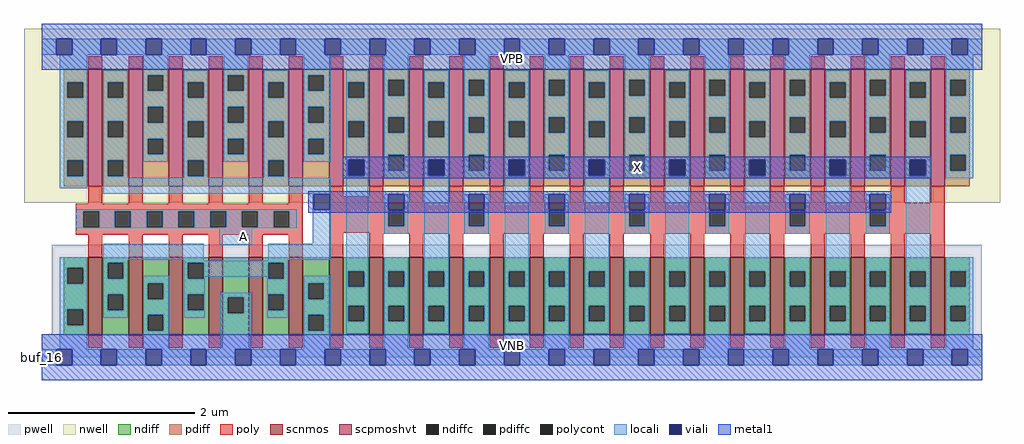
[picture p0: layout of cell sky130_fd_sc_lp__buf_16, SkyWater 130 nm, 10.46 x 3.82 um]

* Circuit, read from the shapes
.subckt sky130_fd_sc_lp__buf_16 A VGND VNB VPB VPWR X
XM1 n1 A VGND VNB sky130_fd_pr__nfet_01v8 w=0.84 l=0.15 m=6
XM2 X n1 VGND VNB sky130_fd_pr__nfet_01v8 w=0.84 l=0.15 m=16
XM3 n1 A VPWR VPB sky130_fd_pr__pfet_01v8_hvt w=1.26 l=0.15 m=6
XM4 X n1 VPWR VPB sky130_fd_pr__pfet_01v8_hvt w=1.26 l=0.15 m=16
.ends

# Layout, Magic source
magic
tech sky130A
magscale 1 2
<< nwell >>
rect -38 331 2054 704
<< pwell >>
rect 21 49 2015 241
rect 0 0 2016 49
<< scnmos >>
rect 100 47 130 215
rect 186 47 216 215
rect 272 47 302 215
rect 358 47 388 215
rect 444 47 474 215
rect 530 47 560 215
rect 616 47 646 215
rect 702 47 732 215
rect 788 47 818 215
rect 874 47 904 215
rect 960 47 990 215
rect 1046 47 1076 215
rect 1132 47 1162 215
rect 1218 47 1248 215
rect 1304 47 1334 215
rect 1390 47 1420 215
rect 1476 47 1506 215
rect 1562 47 1592 215
rect 1648 47 1678 215
rect 1734 47 1764 215
rect 1820 47 1850 215
rect 1906 47 1936 215
<< scpmoshvt >>
rect 100 367 130 619
rect 186 367 216 619
rect 272 367 302 619
rect 358 367 388 619
rect 444 367 474 619
rect 530 367 560 619
rect 616 367 646 619
rect 702 367 732 619
rect 788 367 818 619
rect 874 367 904 619
rect 960 367 990 619
rect 1046 367 1076 619
rect 1132 367 1162 619
rect 1218 367 1248 619
rect 1304 367 1334 619
rect 1390 367 1420 619
rect 1476 367 1506 619
rect 1562 367 1592 619
rect 1648 367 1678 619
rect 1734 367 1764 619
rect 1820 367 1850 619
rect 1906 367 1936 619
<< ndiff >>
rect 47 192 100 215
rect 47 158 55 192
rect 89 158 100 192
rect 47 103 100 158
rect 47 69 55 103
rect 89 69 100 103
rect 47 47 100 69
rect 130 203 186 215
rect 130 169 141 203
rect 175 169 186 203
rect 130 135 186 169
rect 130 101 141 135
rect 175 101 186 135
rect 130 47 186 101
rect 216 159 272 215
rect 216 125 227 159
rect 261 125 272 159
rect 216 91 272 125
rect 216 57 227 91
rect 261 57 272 91
rect 216 47 272 57
rect 302 203 358 215
rect 302 169 313 203
rect 347 169 358 203
rect 302 135 358 169
rect 302 101 313 135
rect 347 101 358 135
rect 302 47 358 101
rect 388 129 444 215
rect 388 95 399 129
rect 433 95 444 129
rect 388 47 444 95
rect 474 203 530 215
rect 474 169 485 203
rect 519 169 530 203
rect 474 135 530 169
rect 474 101 485 135
rect 519 101 530 135
rect 474 47 530 101
rect 560 159 616 215
rect 560 125 571 159
rect 605 125 616 159
rect 560 91 616 125
rect 560 57 571 91
rect 605 57 616 91
rect 560 47 616 57
rect 646 185 702 215
rect 646 151 657 185
rect 691 151 702 185
rect 646 111 702 151
rect 646 77 657 111
rect 691 77 702 111
rect 646 47 702 77
rect 732 185 788 215
rect 732 151 743 185
rect 777 151 788 185
rect 732 111 788 151
rect 732 77 743 111
rect 777 77 788 111
rect 732 47 788 77
rect 818 185 874 215
rect 818 151 829 185
rect 863 151 874 185
rect 818 111 874 151
rect 818 77 829 111
rect 863 77 874 111
rect 818 47 874 77
rect 904 185 960 215
rect 904 151 915 185
rect 949 151 960 185
rect 904 111 960 151
rect 904 77 915 111
rect 949 77 960 111
rect 904 47 960 77
rect 990 185 1046 215
rect 990 151 1001 185
rect 1035 151 1046 185
rect 990 111 1046 151
rect 990 77 1001 111
rect 1035 77 1046 111
rect 990 47 1046 77
rect 1076 185 1132 215
rect 1076 151 1087 185
rect 1121 151 1132 185
rect 1076 111 1132 151
rect 1076 77 1087 111
rect 1121 77 1132 111
rect 1076 47 1132 77
rect 1162 185 1218 215
rect 1162 151 1173 185
rect 1207 151 1218 185
rect 1162 111 1218 151
rect 1162 77 1173 111
rect 1207 77 1218 111
rect 1162 47 1218 77
rect 1248 185 1304 215
rect 1248 151 1259 185
rect 1293 151 1304 185
rect 1248 111 1304 151
rect 1248 77 1259 111
rect 1293 77 1304 111
rect 1248 47 1304 77
rect 1334 185 1390 215
rect 1334 151 1345 185
rect 1379 151 1390 185
rect 1334 111 1390 151
rect 1334 77 1345 111
rect 1379 77 1390 111
rect 1334 47 1390 77
rect 1420 185 1476 215
rect 1420 151 1431 185
rect 1465 151 1476 185
rect 1420 111 1476 151
rect 1420 77 1431 111
rect 1465 77 1476 111
rect 1420 47 1476 77
rect 1506 185 1562 215
rect 1506 151 1517 185
rect 1551 151 1562 185
rect 1506 111 1562 151
rect 1506 77 1517 111
rect 1551 77 1562 111
rect 1506 47 1562 77
rect 1592 185 1648 215
rect 1592 151 1603 185
rect 1637 151 1648 185
rect 1592 111 1648 151
rect 1592 77 1603 111
rect 1637 77 1648 111
rect 1592 47 1648 77
rect 1678 185 1734 215
rect 1678 151 1689 185
rect 1723 151 1734 185
rect 1678 111 1734 151
rect 1678 77 1689 111
rect 1723 77 1734 111
rect 1678 47 1734 77
rect 1764 185 1820 215
rect 1764 151 1775 185
rect 1809 151 1820 185
rect 1764 111 1820 151
rect 1764 77 1775 111
rect 1809 77 1820 111
rect 1764 47 1820 77
rect 1850 185 1906 215
rect 1850 151 1861 185
rect 1895 151 1906 185
rect 1850 111 1906 151
rect 1850 77 1861 111
rect 1895 77 1906 111
rect 1850 47 1906 77
rect 1936 185 1989 215
rect 1936 151 1947 185
rect 1981 151 1989 185
rect 1936 111 1989 151
rect 1936 77 1947 111
rect 1981 77 1989 111
rect 1936 47 1989 77
<< pdiff >>
rect 47 590 100 619
rect 47 556 55 590
rect 89 556 100 590
rect 47 506 100 556
rect 47 472 55 506
rect 89 472 100 506
rect 47 422 100 472
rect 47 388 55 422
rect 89 388 100 422
rect 47 367 100 388
rect 130 590 186 619
rect 130 556 141 590
rect 175 556 186 590
rect 130 506 186 556
rect 130 472 141 506
rect 175 472 186 506
rect 130 422 186 472
rect 130 388 141 422
rect 175 388 186 422
rect 130 367 186 388
rect 216 605 272 619
rect 216 571 227 605
rect 261 571 272 605
rect 216 537 272 571
rect 216 503 227 537
rect 261 503 272 537
rect 216 469 272 503
rect 216 435 227 469
rect 261 435 272 469
rect 216 367 272 435
rect 302 590 358 619
rect 302 556 313 590
rect 347 556 358 590
rect 302 506 358 556
rect 302 472 313 506
rect 347 472 358 506
rect 302 422 358 472
rect 302 388 313 422
rect 347 388 358 422
rect 302 367 358 388
rect 388 605 444 619
rect 388 571 399 605
rect 433 571 444 605
rect 388 537 444 571
rect 388 503 399 537
rect 433 503 444 537
rect 388 469 444 503
rect 388 435 399 469
rect 433 435 444 469
rect 388 367 444 435
rect 474 590 530 619
rect 474 556 485 590
rect 519 556 530 590
rect 474 506 530 556
rect 474 472 485 506
rect 519 472 530 506
rect 474 422 530 472
rect 474 388 485 422
rect 519 388 530 422
rect 474 367 530 388
rect 560 605 616 619
rect 560 571 571 605
rect 605 571 616 605
rect 560 537 616 571
rect 560 503 571 537
rect 605 503 616 537
rect 560 469 616 503
rect 560 435 571 469
rect 605 435 616 469
rect 560 367 616 435
rect 646 590 702 619
rect 646 556 657 590
rect 691 556 702 590
rect 646 506 702 556
rect 646 472 657 506
rect 691 472 702 506
rect 646 422 702 472
rect 646 388 657 422
rect 691 388 702 422
rect 646 367 702 388
rect 732 595 788 619
rect 732 561 743 595
rect 777 561 788 595
rect 732 515 788 561
rect 732 481 743 515
rect 777 481 788 515
rect 732 434 788 481
rect 732 400 743 434
rect 777 400 788 434
rect 732 367 788 400
rect 818 590 874 619
rect 818 556 829 590
rect 863 556 874 590
rect 818 506 874 556
rect 818 472 829 506
rect 863 472 874 506
rect 818 422 874 472
rect 818 388 829 422
rect 863 388 874 422
rect 818 367 874 388
rect 904 595 960 619
rect 904 561 915 595
rect 949 561 960 595
rect 904 515 960 561
rect 904 481 915 515
rect 949 481 960 515
rect 904 434 960 481
rect 904 400 915 434
rect 949 400 960 434
rect 904 367 960 400
rect 990 590 1046 619
rect 990 556 1001 590
rect 1035 556 1046 590
rect 990 506 1046 556
rect 990 472 1001 506
rect 1035 472 1046 506
rect 990 422 1046 472
rect 990 388 1001 422
rect 1035 388 1046 422
rect 990 367 1046 388
rect 1076 595 1132 619
rect 1076 561 1087 595
rect 1121 561 1132 595
rect 1076 515 1132 561
rect 1076 481 1087 515
rect 1121 481 1132 515
rect 1076 434 1132 481
rect 1076 400 1087 434
rect 1121 400 1132 434
rect 1076 367 1132 400
rect 1162 590 1218 619
rect 1162 556 1173 590
rect 1207 556 1218 590
rect 1162 506 1218 556
rect 1162 472 1173 506
rect 1207 472 1218 506
rect 1162 422 1218 472
rect 1162 388 1173 422
rect 1207 388 1218 422
rect 1162 367 1218 388
rect 1248 595 1304 619
rect 1248 561 1259 595
rect 1293 561 1304 595
rect 1248 515 1304 561
rect 1248 481 1259 515
rect 1293 481 1304 515
rect 1248 434 1304 481
rect 1248 400 1259 434
rect 1293 400 1304 434
rect 1248 367 1304 400
rect 1334 590 1390 619
rect 1334 556 1345 590
rect 1379 556 1390 590
rect 1334 506 1390 556
rect 1334 472 1345 506
rect 1379 472 1390 506
rect 1334 422 1390 472
rect 1334 388 1345 422
rect 1379 388 1390 422
rect 1334 367 1390 388
rect 1420 595 1476 619
rect 1420 561 1431 595
rect 1465 561 1476 595
rect 1420 515 1476 561
rect 1420 481 1431 515
rect 1465 481 1476 515
rect 1420 434 1476 481
rect 1420 400 1431 434
rect 1465 400 1476 434
rect 1420 367 1476 400
rect 1506 590 1562 619
rect 1506 556 1517 590
rect 1551 556 1562 590
rect 1506 506 1562 556
rect 1506 472 1517 506
rect 1551 472 1562 506
rect 1506 422 1562 472
rect 1506 388 1517 422
rect 1551 388 1562 422
rect 1506 367 1562 388
rect 1592 595 1648 619
rect 1592 561 1603 595
rect 1637 561 1648 595
rect 1592 515 1648 561
rect 1592 481 1603 515
rect 1637 481 1648 515
rect 1592 434 1648 481
rect 1592 400 1603 434
rect 1637 400 1648 434
rect 1592 367 1648 400
rect 1678 590 1734 619
rect 1678 556 1689 590
rect 1723 556 1734 590
rect 1678 506 1734 556
rect 1678 472 1689 506
rect 1723 472 1734 506
rect 1678 422 1734 472
rect 1678 388 1689 422
rect 1723 388 1734 422
rect 1678 367 1734 388
rect 1764 595 1820 619
rect 1764 561 1775 595
rect 1809 561 1820 595
rect 1764 515 1820 561
rect 1764 481 1775 515
rect 1809 481 1820 515
rect 1764 434 1820 481
rect 1764 400 1775 434
rect 1809 400 1820 434
rect 1764 367 1820 400
rect 1850 590 1906 619
rect 1850 556 1861 590
rect 1895 556 1906 590
rect 1850 506 1906 556
rect 1850 472 1861 506
rect 1895 472 1906 506
rect 1850 422 1906 472
rect 1850 388 1861 422
rect 1895 388 1906 422
rect 1850 367 1906 388
rect 1936 595 1989 619
rect 1936 561 1947 595
rect 1981 561 1989 595
rect 1936 515 1989 561
rect 1936 481 1947 515
rect 1981 481 1989 515
rect 1936 434 1989 481
rect 1936 400 1947 434
rect 1981 400 1989 434
rect 1936 367 1989 400
<< ndiffc >>
rect 55 158 89 192
rect 55 69 89 103
rect 141 169 175 203
rect 141 101 175 135
rect 227 125 261 159
rect 227 57 261 91
rect 313 169 347 203
rect 313 101 347 135
rect 399 95 433 129
rect 485 169 519 203
rect 485 101 519 135
rect 571 125 605 159
rect 571 57 605 91
rect 657 151 691 185
rect 657 77 691 111
rect 743 151 777 185
rect 743 77 777 111
rect 829 151 863 185
rect 829 77 863 111
rect 915 151 949 185
rect 915 77 949 111
rect 1001 151 1035 185
rect 1001 77 1035 111
rect 1087 151 1121 185
rect 1087 77 1121 111
rect 1173 151 1207 185
rect 1173 77 1207 111
rect 1259 151 1293 185
rect 1259 77 1293 111
rect 1345 151 1379 185
rect 1345 77 1379 111
rect 1431 151 1465 185
rect 1431 77 1465 111
rect 1517 151 1551 185
rect 1517 77 1551 111
rect 1603 151 1637 185
rect 1603 77 1637 111
rect 1689 151 1723 185
rect 1689 77 1723 111
rect 1775 151 1809 185
rect 1775 77 1809 111
rect 1861 151 1895 185
rect 1861 77 1895 111
rect 1947 151 1981 185
rect 1947 77 1981 111
<< pdiffc >>
rect 55 556 89 590
rect 55 472 89 506
rect 55 388 89 422
rect 141 556 175 590
rect 141 472 175 506
rect 141 388 175 422
rect 227 571 261 605
rect 227 503 261 537
rect 227 435 261 469
rect 313 556 347 590
rect 313 472 347 506
rect 313 388 347 422
rect 399 571 433 605
rect 399 503 433 537
rect 399 435 433 469
rect 485 556 519 590
rect 485 472 519 506
rect 485 388 519 422
rect 571 571 605 605
rect 571 503 605 537
rect 571 435 605 469
rect 657 556 691 590
rect 657 472 691 506
rect 657 388 691 422
rect 743 561 777 595
rect 743 481 777 515
rect 743 400 777 434
rect 829 556 863 590
rect 829 472 863 506
rect 829 388 863 422
rect 915 561 949 595
rect 915 481 949 515
rect 915 400 949 434
rect 1001 556 1035 590
rect 1001 472 1035 506
rect 1001 388 1035 422
rect 1087 561 1121 595
rect 1087 481 1121 515
rect 1087 400 1121 434
rect 1173 556 1207 590
rect 1173 472 1207 506
rect 1173 388 1207 422
rect 1259 561 1293 595
rect 1259 481 1293 515
rect 1259 400 1293 434
rect 1345 556 1379 590
rect 1345 472 1379 506
rect 1345 388 1379 422
rect 1431 561 1465 595
rect 1431 481 1465 515
rect 1431 400 1465 434
rect 1517 556 1551 590
rect 1517 472 1551 506
rect 1517 388 1551 422
rect 1603 561 1637 595
rect 1603 481 1637 515
rect 1603 400 1637 434
rect 1689 556 1723 590
rect 1689 472 1723 506
rect 1689 388 1723 422
rect 1775 561 1809 595
rect 1775 481 1809 515
rect 1775 400 1809 434
rect 1861 556 1895 590
rect 1861 472 1895 506
rect 1861 388 1895 422
rect 1947 561 1981 595
rect 1947 481 1981 515
rect 1947 400 1981 434
<< poly >>
rect 100 619 130 645
rect 186 619 216 645
rect 272 619 302 645
rect 358 619 388 645
rect 444 619 474 645
rect 530 619 560 645
rect 616 619 646 645
rect 702 619 732 645
rect 788 619 818 645
rect 874 619 904 645
rect 960 619 990 645
rect 1046 619 1076 645
rect 1132 619 1162 645
rect 1218 619 1248 645
rect 1304 619 1334 645
rect 1390 619 1420 645
rect 1476 619 1506 645
rect 1562 619 1592 645
rect 1648 619 1678 645
rect 1734 619 1764 645
rect 1820 619 1850 645
rect 1906 619 1936 645
rect 100 329 130 367
rect 186 329 216 367
rect 272 329 302 367
rect 358 329 388 367
rect 444 329 474 367
rect 530 329 560 367
rect 73 313 560 329
rect 73 279 89 313
rect 123 279 157 313
rect 191 279 225 313
rect 259 279 293 313
rect 327 279 361 313
rect 395 279 429 313
rect 463 279 497 313
rect 531 279 560 313
rect 73 263 560 279
rect 100 215 130 263
rect 186 215 216 263
rect 272 215 302 263
rect 358 215 388 263
rect 444 215 474 263
rect 530 215 560 263
rect 616 345 646 367
rect 702 345 732 367
rect 616 331 732 345
rect 788 331 818 367
rect 874 331 904 367
rect 960 331 990 367
rect 1046 331 1076 367
rect 1132 331 1162 367
rect 1218 331 1248 367
rect 1304 331 1334 367
rect 1390 331 1420 367
rect 1476 331 1506 367
rect 1562 331 1592 367
rect 1648 331 1678 367
rect 1734 331 1764 367
rect 1820 331 1850 367
rect 1906 331 1936 367
rect 616 315 1936 331
rect 616 281 743 315
rect 777 281 915 315
rect 949 281 1087 315
rect 1121 281 1259 315
rect 1293 281 1431 315
rect 1465 281 1603 315
rect 1637 281 1775 315
rect 1809 281 1936 315
rect 616 267 1936 281
rect 616 215 646 267
rect 702 265 1936 267
rect 702 215 732 265
rect 788 215 818 265
rect 874 215 904 265
rect 960 215 990 265
rect 1046 215 1076 265
rect 1132 215 1162 265
rect 1218 215 1248 265
rect 1304 215 1334 265
rect 1390 215 1420 265
rect 1476 215 1506 265
rect 1562 215 1592 265
rect 1648 215 1678 265
rect 1734 215 1764 265
rect 1820 215 1850 265
rect 1906 215 1936 265
rect 100 21 130 47
rect 186 21 216 47
rect 272 21 302 47
rect 358 21 388 47
rect 444 21 474 47
rect 530 21 560 47
rect 616 21 646 47
rect 702 21 732 47
rect 788 21 818 47
rect 874 21 904 47
rect 960 21 990 47
rect 1046 21 1076 47
rect 1132 21 1162 47
rect 1218 21 1248 47
rect 1304 21 1334 47
rect 1390 21 1420 47
rect 1476 21 1506 47
rect 1562 21 1592 47
rect 1648 21 1678 47
rect 1734 21 1764 47
rect 1820 21 1850 47
rect 1906 21 1936 47
<< polycont >>
rect 89 279 123 313
rect 157 279 191 313
rect 225 279 259 313
rect 293 279 327 313
rect 361 279 395 313
rect 429 279 463 313
rect 497 279 531 313
rect 743 281 777 315
rect 915 281 949 315
rect 1087 281 1121 315
rect 1259 281 1293 315
rect 1431 281 1465 315
rect 1603 281 1637 315
rect 1775 281 1809 315
<< locali >>
rect 0 649 31 683
rect 65 649 127 683
rect 161 649 223 683
rect 257 649 319 683
rect 353 649 415 683
rect 449 649 511 683
rect 545 649 607 683
rect 641 649 703 683
rect 737 649 799 683
rect 833 649 895 683
rect 929 649 991 683
rect 1025 649 1087 683
rect 1121 649 1183 683
rect 1217 649 1279 683
rect 1313 649 1375 683
rect 1409 649 1471 683
rect 1505 649 1567 683
rect 1601 649 1663 683
rect 1697 649 1759 683
rect 1793 649 1855 683
rect 1889 649 1951 683
rect 1985 649 2016 683
rect 39 590 98 649
rect 39 556 55 590
rect 89 556 98 590
rect 39 506 98 556
rect 39 472 55 506
rect 89 472 98 506
rect 39 422 98 472
rect 39 388 55 422
rect 89 388 98 422
rect 39 363 98 388
rect 132 590 184 615
rect 132 556 141 590
rect 175 556 184 590
rect 132 506 184 556
rect 132 472 141 506
rect 175 472 184 506
rect 132 422 184 472
rect 132 388 141 422
rect 175 388 184 422
rect 218 605 270 649
rect 218 571 227 605
rect 261 571 270 605
rect 218 537 270 571
rect 218 503 227 537
rect 261 503 270 537
rect 218 469 270 503
rect 218 435 227 469
rect 261 435 270 469
rect 218 419 270 435
rect 304 590 356 615
rect 304 556 313 590
rect 347 556 356 590
rect 304 506 356 556
rect 304 472 313 506
rect 347 472 356 506
rect 304 422 356 472
rect 132 385 184 388
rect 304 388 313 422
rect 347 388 356 422
rect 390 605 442 649
rect 390 571 399 605
rect 433 571 442 605
rect 390 537 442 571
rect 390 503 399 537
rect 433 503 442 537
rect 390 469 442 503
rect 390 435 399 469
rect 433 435 442 469
rect 390 419 442 435
rect 476 590 528 615
rect 476 556 485 590
rect 519 556 528 590
rect 476 506 528 556
rect 476 472 485 506
rect 519 472 528 506
rect 476 422 528 472
rect 304 385 356 388
rect 476 388 485 422
rect 519 388 528 422
rect 562 605 619 649
rect 562 571 571 605
rect 605 571 619 605
rect 562 537 619 571
rect 562 503 571 537
rect 605 503 619 537
rect 562 469 619 503
rect 562 435 571 469
rect 605 435 619 469
rect 562 419 619 435
rect 653 590 700 615
rect 653 556 657 590
rect 691 556 700 590
rect 653 506 700 556
rect 653 472 657 506
rect 691 472 700 506
rect 653 424 700 472
rect 476 385 528 388
rect 653 388 657 424
rect 691 388 700 424
rect 132 351 619 385
rect 581 350 619 351
rect 73 313 547 317
rect 73 279 89 313
rect 123 279 157 313
rect 191 279 225 313
rect 259 279 293 313
rect 327 279 361 313
rect 395 279 429 313
rect 463 279 497 313
rect 531 279 547 313
rect 73 277 547 279
rect 581 316 583 350
rect 617 316 619 350
rect 39 192 98 215
rect 39 158 55 192
rect 89 158 98 192
rect 39 103 98 158
rect 39 69 55 103
rect 89 69 98 103
rect 132 209 347 243
rect 381 241 451 277
rect 581 243 619 316
rect 132 203 184 209
rect 132 169 141 203
rect 175 169 184 203
rect 306 207 347 209
rect 485 209 619 243
rect 485 207 528 209
rect 306 203 528 207
rect 132 135 184 169
rect 132 101 141 135
rect 175 101 184 135
rect 132 85 184 101
rect 218 159 272 175
rect 218 125 227 159
rect 261 125 272 159
rect 218 91 272 125
rect 39 17 98 69
rect 218 57 227 91
rect 261 57 272 91
rect 306 169 313 203
rect 347 173 485 203
rect 347 169 349 173
rect 306 135 349 169
rect 483 169 485 173
rect 519 169 528 203
rect 653 185 700 388
rect 734 595 786 649
rect 734 561 743 595
rect 777 561 786 595
rect 734 515 786 561
rect 734 481 743 515
rect 777 481 786 515
rect 734 434 786 481
rect 734 400 743 434
rect 777 400 786 434
rect 734 384 786 400
rect 820 590 872 615
rect 820 556 829 590
rect 863 556 872 590
rect 820 506 872 556
rect 820 472 829 506
rect 863 472 872 506
rect 820 424 872 472
rect 820 388 829 424
rect 863 388 872 424
rect 734 316 743 350
rect 777 316 786 350
rect 734 315 786 316
rect 734 281 743 315
rect 777 281 786 315
rect 734 265 786 281
rect 306 101 313 135
rect 347 101 349 135
rect 306 85 349 101
rect 383 129 449 139
rect 383 95 399 129
rect 433 95 449 129
rect 218 17 272 57
rect 383 17 449 95
rect 483 135 528 169
rect 483 101 485 135
rect 519 101 528 135
rect 483 85 528 101
rect 562 159 619 175
rect 562 125 571 159
rect 605 125 619 159
rect 562 91 619 125
rect 562 57 571 91
rect 605 57 619 91
rect 562 17 619 57
rect 653 151 657 185
rect 691 151 700 185
rect 653 111 700 151
rect 653 77 657 111
rect 691 77 700 111
rect 653 51 700 77
rect 734 185 786 215
rect 734 151 743 185
rect 777 151 786 185
rect 734 111 786 151
rect 734 77 743 111
rect 777 77 786 111
rect 734 17 786 77
rect 820 185 872 388
rect 906 595 958 649
rect 906 561 915 595
rect 949 561 958 595
rect 906 515 958 561
rect 906 481 915 515
rect 949 481 958 515
rect 906 434 958 481
rect 906 400 915 434
rect 949 400 958 434
rect 906 384 958 400
rect 992 590 1044 615
rect 992 556 1001 590
rect 1035 556 1044 590
rect 992 506 1044 556
rect 992 472 1001 506
rect 1035 472 1044 506
rect 992 424 1044 472
rect 992 388 1001 424
rect 1035 388 1044 424
rect 906 316 915 350
rect 949 316 958 350
rect 906 315 958 316
rect 906 281 915 315
rect 949 281 958 315
rect 906 265 958 281
rect 820 151 829 185
rect 863 151 872 185
rect 820 111 872 151
rect 820 77 829 111
rect 863 77 872 111
rect 820 51 872 77
rect 906 185 958 215
rect 906 151 915 185
rect 949 151 958 185
rect 906 111 958 151
rect 906 77 915 111
rect 949 77 958 111
rect 906 17 958 77
rect 992 185 1044 388
rect 1078 595 1130 649
rect 1078 561 1087 595
rect 1121 561 1130 595
rect 1078 515 1130 561
rect 1078 481 1087 515
rect 1121 481 1130 515
rect 1078 434 1130 481
rect 1078 400 1087 434
rect 1121 400 1130 434
rect 1078 384 1130 400
rect 1164 590 1216 615
rect 1164 556 1173 590
rect 1207 556 1216 590
rect 1164 506 1216 556
rect 1164 472 1173 506
rect 1207 472 1216 506
rect 1164 424 1216 472
rect 1164 388 1173 424
rect 1207 388 1216 424
rect 1078 316 1087 350
rect 1121 316 1130 350
rect 1078 315 1130 316
rect 1078 281 1087 315
rect 1121 281 1130 315
rect 1078 265 1130 281
rect 992 151 1001 185
rect 1035 151 1044 185
rect 992 111 1044 151
rect 992 77 1001 111
rect 1035 77 1044 111
rect 992 51 1044 77
rect 1078 185 1130 215
rect 1078 151 1087 185
rect 1121 151 1130 185
rect 1078 111 1130 151
rect 1078 77 1087 111
rect 1121 77 1130 111
rect 1078 17 1130 77
rect 1164 185 1216 388
rect 1250 595 1302 649
rect 1250 561 1259 595
rect 1293 561 1302 595
rect 1250 515 1302 561
rect 1250 481 1259 515
rect 1293 481 1302 515
rect 1250 434 1302 481
rect 1250 400 1259 434
rect 1293 400 1302 434
rect 1250 384 1302 400
rect 1336 590 1388 615
rect 1336 556 1345 590
rect 1379 556 1388 590
rect 1336 506 1388 556
rect 1336 472 1345 506
rect 1379 472 1388 506
rect 1336 424 1388 472
rect 1336 388 1345 424
rect 1379 388 1388 424
rect 1250 316 1259 350
rect 1293 316 1302 350
rect 1250 315 1302 316
rect 1250 281 1259 315
rect 1293 281 1302 315
rect 1250 265 1302 281
rect 1164 151 1173 185
rect 1207 151 1216 185
rect 1164 111 1216 151
rect 1164 77 1173 111
rect 1207 77 1216 111
rect 1164 51 1216 77
rect 1250 185 1302 215
rect 1250 151 1259 185
rect 1293 151 1302 185
rect 1250 111 1302 151
rect 1250 77 1259 111
rect 1293 77 1302 111
rect 1250 17 1302 77
rect 1336 185 1388 388
rect 1422 595 1474 649
rect 1422 561 1431 595
rect 1465 561 1474 595
rect 1422 515 1474 561
rect 1422 481 1431 515
rect 1465 481 1474 515
rect 1422 434 1474 481
rect 1422 400 1431 434
rect 1465 400 1474 434
rect 1422 384 1474 400
rect 1508 590 1560 615
rect 1508 556 1517 590
rect 1551 556 1560 590
rect 1508 506 1560 556
rect 1508 472 1517 506
rect 1551 472 1560 506
rect 1508 424 1560 472
rect 1508 388 1517 424
rect 1551 388 1560 424
rect 1422 316 1431 350
rect 1465 316 1474 350
rect 1422 315 1474 316
rect 1422 281 1431 315
rect 1465 281 1474 315
rect 1422 265 1474 281
rect 1336 151 1345 185
rect 1379 151 1388 185
rect 1336 111 1388 151
rect 1336 77 1345 111
rect 1379 77 1388 111
rect 1336 51 1388 77
rect 1422 185 1474 215
rect 1422 151 1431 185
rect 1465 151 1474 185
rect 1422 111 1474 151
rect 1422 77 1431 111
rect 1465 77 1474 111
rect 1422 17 1474 77
rect 1508 185 1560 388
rect 1594 595 1646 649
rect 1594 561 1603 595
rect 1637 561 1646 595
rect 1594 515 1646 561
rect 1594 481 1603 515
rect 1637 481 1646 515
rect 1594 434 1646 481
rect 1594 400 1603 434
rect 1637 400 1646 434
rect 1594 384 1646 400
rect 1680 590 1732 615
rect 1680 556 1689 590
rect 1723 556 1732 590
rect 1680 506 1732 556
rect 1680 472 1689 506
rect 1723 472 1732 506
rect 1680 424 1732 472
rect 1680 388 1689 424
rect 1723 388 1732 424
rect 1594 316 1603 350
rect 1637 316 1646 350
rect 1594 315 1646 316
rect 1594 281 1603 315
rect 1637 281 1646 315
rect 1594 265 1646 281
rect 1508 151 1517 185
rect 1551 151 1560 185
rect 1508 111 1560 151
rect 1508 77 1517 111
rect 1551 77 1560 111
rect 1508 51 1560 77
rect 1594 185 1646 215
rect 1594 151 1603 185
rect 1637 151 1646 185
rect 1594 111 1646 151
rect 1594 77 1603 111
rect 1637 77 1646 111
rect 1594 17 1646 77
rect 1680 185 1732 388
rect 1766 595 1818 649
rect 1766 561 1775 595
rect 1809 561 1818 595
rect 1766 515 1818 561
rect 1766 481 1775 515
rect 1809 481 1818 515
rect 1766 434 1818 481
rect 1766 400 1775 434
rect 1809 400 1818 434
rect 1766 384 1818 400
rect 1852 590 1904 615
rect 1852 556 1861 590
rect 1895 556 1904 590
rect 1852 506 1904 556
rect 1852 472 1861 506
rect 1895 472 1904 506
rect 1852 424 1904 472
rect 1852 388 1861 424
rect 1895 388 1904 424
rect 1766 316 1775 350
rect 1809 316 1818 350
rect 1766 315 1818 316
rect 1766 281 1775 315
rect 1809 281 1818 315
rect 1766 265 1818 281
rect 1680 151 1689 185
rect 1723 151 1732 185
rect 1680 111 1732 151
rect 1680 77 1689 111
rect 1723 77 1732 111
rect 1680 51 1732 77
rect 1766 185 1818 215
rect 1766 151 1775 185
rect 1809 151 1818 185
rect 1766 111 1818 151
rect 1766 77 1775 111
rect 1809 77 1818 111
rect 1766 17 1818 77
rect 1852 185 1904 388
rect 1938 595 1997 649
rect 1938 561 1947 595
rect 1981 561 1997 595
rect 1938 515 1997 561
rect 1938 481 1947 515
rect 1981 481 1997 515
rect 1938 434 1997 481
rect 1938 400 1947 434
rect 1981 400 1997 434
rect 1938 384 1997 400
rect 1852 151 1861 185
rect 1895 151 1904 185
rect 1852 111 1904 151
rect 1852 77 1861 111
rect 1895 77 1904 111
rect 1852 51 1904 77
rect 1938 185 1997 215
rect 1938 151 1947 185
rect 1981 151 1997 185
rect 1938 111 1997 151
rect 1938 77 1947 111
rect 1981 77 1997 111
rect 1938 17 1997 77
rect 0 -17 31 17
rect 65 -17 127 17
rect 161 -17 223 17
rect 257 -17 319 17
rect 353 -17 415 17
rect 449 -17 511 17
rect 545 -17 607 17
rect 641 -17 703 17
rect 737 -17 799 17
rect 833 -17 895 17
rect 929 -17 991 17
rect 1025 -17 1087 17
rect 1121 -17 1183 17
rect 1217 -17 1279 17
rect 1313 -17 1375 17
rect 1409 -17 1471 17
rect 1505 -17 1567 17
rect 1601 -17 1663 17
rect 1697 -17 1759 17
rect 1793 -17 1855 17
rect 1889 -17 1951 17
rect 1985 -17 2016 17
<< viali >>
rect 31 649 65 683
rect 127 649 161 683
rect 223 649 257 683
rect 319 649 353 683
rect 415 649 449 683
rect 511 649 545 683
rect 607 649 641 683
rect 703 649 737 683
rect 799 649 833 683
rect 895 649 929 683
rect 991 649 1025 683
rect 1087 649 1121 683
rect 1183 649 1217 683
rect 1279 649 1313 683
rect 1375 649 1409 683
rect 1471 649 1505 683
rect 1567 649 1601 683
rect 1663 649 1697 683
rect 1759 649 1793 683
rect 1855 649 1889 683
rect 1951 649 1985 683
rect 657 422 691 424
rect 657 390 691 422
rect 583 316 617 350
rect 829 422 863 424
rect 829 390 863 422
rect 743 316 777 350
rect 1001 422 1035 424
rect 1001 390 1035 422
rect 915 316 949 350
rect 1173 422 1207 424
rect 1173 390 1207 422
rect 1087 316 1121 350
rect 1345 422 1379 424
rect 1345 390 1379 422
rect 1259 316 1293 350
rect 1517 422 1551 424
rect 1517 390 1551 422
rect 1431 316 1465 350
rect 1689 422 1723 424
rect 1689 390 1723 422
rect 1603 316 1637 350
rect 1861 422 1895 424
rect 1861 390 1895 422
rect 1775 316 1809 350
rect 31 -17 65 17
rect 127 -17 161 17
rect 223 -17 257 17
rect 319 -17 353 17
rect 415 -17 449 17
rect 511 -17 545 17
rect 607 -17 641 17
rect 703 -17 737 17
rect 799 -17 833 17
rect 895 -17 929 17
rect 991 -17 1025 17
rect 1087 -17 1121 17
rect 1183 -17 1217 17
rect 1279 -17 1313 17
rect 1375 -17 1409 17
rect 1471 -17 1505 17
rect 1567 -17 1601 17
rect 1663 -17 1697 17
rect 1759 -17 1793 17
rect 1855 -17 1889 17
rect 1951 -17 1985 17
<< metal1 >>
rect 0 683 2016 715
rect 0 649 31 683
rect 65 649 127 683
rect 161 649 223 683
rect 257 649 319 683
rect 353 649 415 683
rect 449 649 511 683
rect 545 649 607 683
rect 641 649 703 683
rect 737 649 799 683
rect 833 649 895 683
rect 929 649 991 683
rect 1025 649 1087 683
rect 1121 649 1183 683
rect 1217 649 1279 683
rect 1313 649 1375 683
rect 1409 649 1471 683
rect 1505 649 1567 683
rect 1601 649 1663 683
rect 1697 649 1759 683
rect 1793 649 1855 683
rect 1889 649 1951 683
rect 1985 649 2016 683
rect 0 617 2016 649
rect 645 424 1907 430
rect 645 390 657 424
rect 691 390 829 424
rect 863 390 1001 424
rect 1035 390 1173 424
rect 1207 390 1345 424
rect 1379 390 1517 424
rect 1551 390 1689 424
rect 1723 390 1861 424
rect 1895 390 1907 424
rect 645 384 1907 390
rect 571 350 1821 356
rect 571 316 583 350
rect 617 316 743 350
rect 777 316 915 350
rect 949 316 1087 350
rect 1121 316 1259 350
rect 1293 316 1431 350
rect 1465 316 1603 350
rect 1637 316 1775 350
rect 1809 316 1821 350
rect 571 310 1821 316
rect 0 17 2016 49
rect 0 -17 31 17
rect 65 -17 127 17
rect 161 -17 223 17
rect 257 -17 319 17
rect 353 -17 415 17
rect 449 -17 511 17
rect 545 -17 607 17
rect 641 -17 703 17
rect 737 -17 799 17
rect 833 -17 895 17
rect 929 -17 991 17
rect 1025 -17 1087 17
rect 1121 -17 1183 17
rect 1217 -17 1279 17
rect 1313 -17 1375 17
rect 1409 -17 1471 17
rect 1505 -17 1567 17
rect 1601 -17 1663 17
rect 1697 -17 1759 17
rect 1793 -17 1855 17
rect 1889 -17 1951 17
rect 1985 -17 2016 17
rect 0 -49 2016 -17
<< labels >>
flabel pwell s 0 0 2016 49 0 FreeSans 200 0 0 0 VNB
port 3 nsew ground bidirectional
flabel nwell s 0 617 2016 666 0 FreeSans 200 0 0 0 VPB
port 4 nsew power bidirectional
rlabel comment s 0 0 0 0 4 buf_16
flabel metal1 s 0 617 2016 666 0 FreeSans 340 0 0 0 VPWR
port 5 nsew power bidirectional
flabel metal1 s 0 0 2016 49 0 FreeSans 340 0 0 0 VGND
port 2 nsew ground bidirectional
flabel metal1 s 645 384 1907 430 0 FreeSans 200 0 0 0 X
port 6 nsew signal output
flabel locali s 415 242 449 276 0 FreeSans 340 0 0 0 A
port 1 nsew signal input
<< properties >>
string LEFsite unit
string LEFclass CORE
string FIXED_BBOX 0 0 2016 666
string GDS_FILE $PDKPATH/libs.ref/sky130_fd_sc_lp/gds/sky130_fd_sc_lp.gds
string LEFsymmetry X Y R90
string GDS_END 5059460
string GDS_START 5042172
<< end >>
